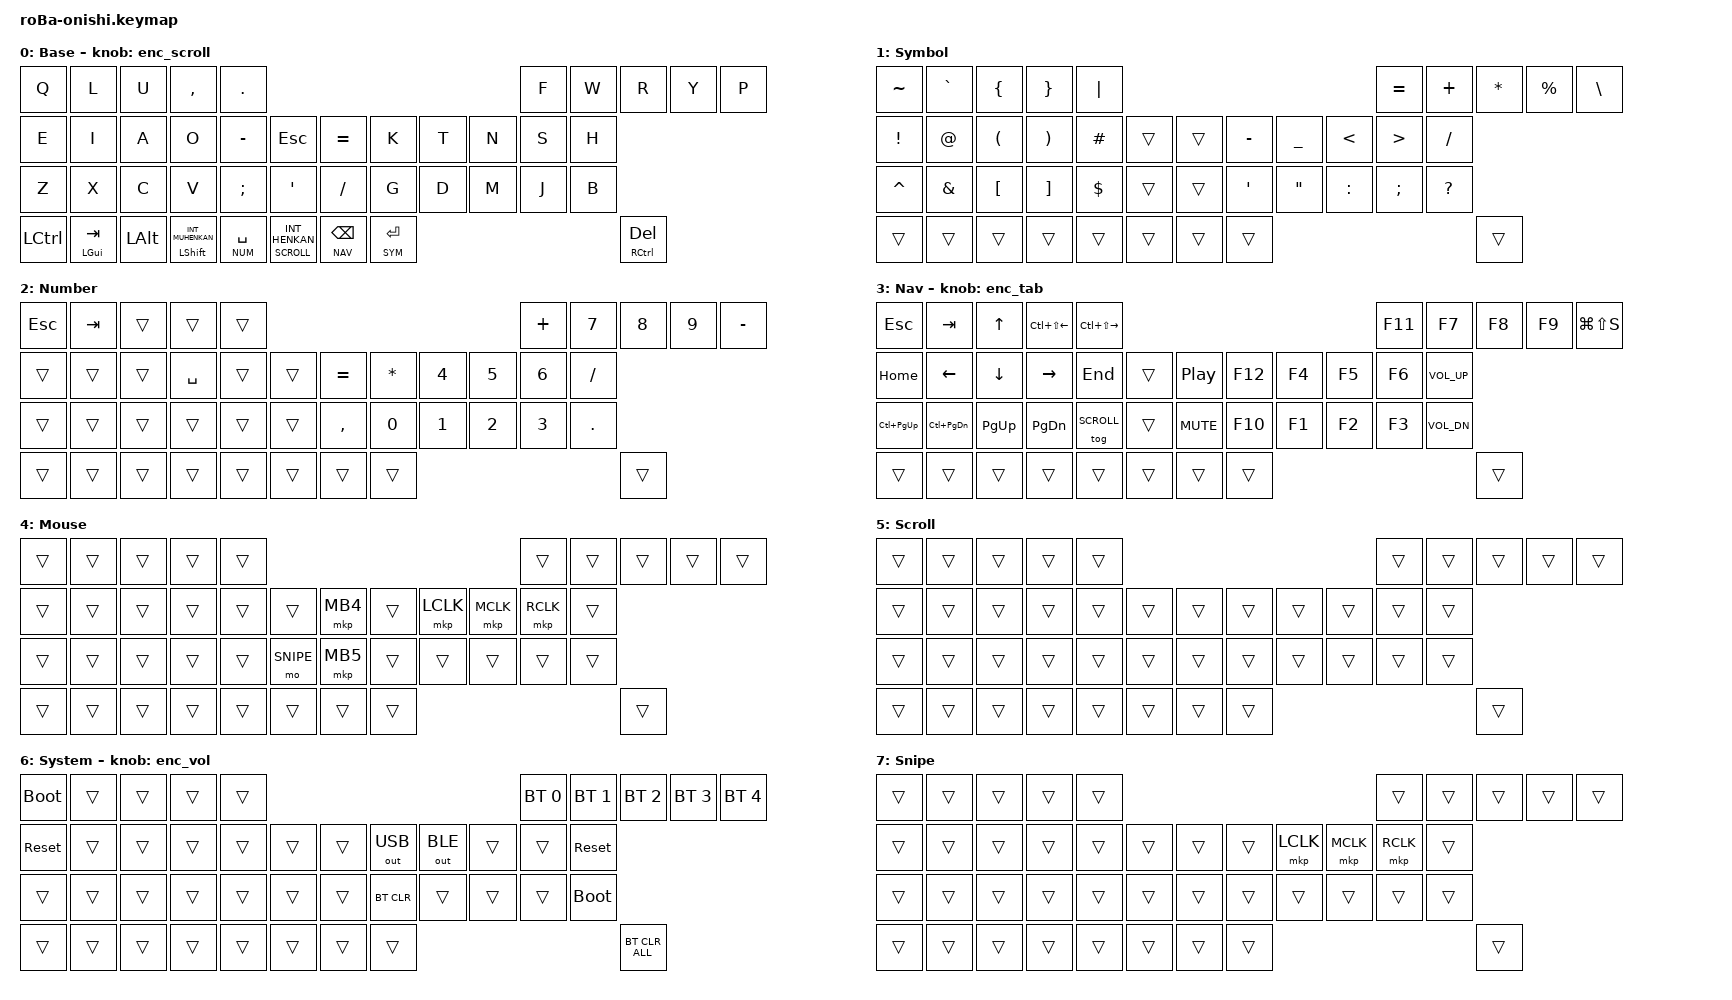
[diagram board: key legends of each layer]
/*
 * roBa keymap — 大西配列ベース / コーディング優先 / Windows + US配列
 * ZMK v0.3
 *
 * キー位置番号（excluded-positions 等で使う）
 *
 *   0  1  2  3  4                    5  6  7  8  9
 *  10 11 12 13 14 15            16 17 18 19 20 21
 *  22 23 24 25 26 27            28 29 30 31 32 33
 *  34 35 36  37 38 39       40 41                42
 *  └左下段┘ └左親指┘       └右親指┘           右下
 *
 *  15/27・16/28 は人差し指で届く内側の列。トラックボールは右親指で操作。
 */

#include <behaviors.dtsi>
#include <dt-bindings/zmk/bt.h>
#include <dt-bindings/zmk/keys.h>
#include <dt-bindings/zmk/outputs.h>
#include <dt-bindings/zmk/pointing.h>
#include <dt-bindings/zmk/input_transform.h>
#include <input/processors.dtsi>

#define BASE   0
#define SYM    1
#define NUM    2
#define NAV    3
#define MOUSE  4
#define SCROLL 5
#define SYS    6
#define SNIPE  7

/* ------------------------------------------------------------------ */
/* 長押し兼用キーの挙動                                                 */
/* ------------------------------------------------------------------ */

/* 英数/Shift・Tab/Win・Del/Ctrl … タップと長押しを両立 */
&mt {
    flavor = "balanced";
    tapping-term-ms = <200>;
    quick-tap-ms = <200>;      /* タップ直後にもう一度押しっぱなし → キーリピート */
};

/* BS/NAV・Enter/SYM */
&lt {
    flavor = "balanced";
    tapping-term-ms = <200>;
    quick-tap-ms = <200>;      /* BS長押しで連続削除できるようにする */
};

/ {
    behaviors {
        /* Space/NUM … 最頻キーなので誤爆対策を追加 */
        lt_spc: lt_spc {
            compatible = "zmk,behavior-hold-tap";
            #binding-cells = <2>;
            bindings = <&mo>, <&kp>;
            flavor = "balanced";
            tapping-term-ms = <200>;
            quick-tap-ms = <200>;
            require-prior-idle-ms = <150>;  /* 文字の直後150ms以内のSpaceは必ず「Space」 */
        };

        /* かな/SCROLL … 左親指で押さえながら右親指でボール → スクロール */
        lt_scr: lt_scr {
            compatible = "zmk,behavior-hold-tap";
            #binding-cells = <2>;
            bindings = <&mo>, <&kp>;
            flavor = "balanced";
            tapping-term-ms = <150>;        /* スクロールの立ち上がりを少し速く */
            quick-tap-ms = <200>;
        };

        /* エンコーダー：回すとマウスホイール（1クリックで1段） */
        enc_scroll: enc_scroll {
            compatible = "zmk,behavior-sensor-rotate";
            #sensor-binding-cells = <0>;
            bindings = <&msc MOVE_Y(80)>, <&msc MOVE_Y(-80)>;
            tap-ms = <30>;   /* &msc は押している間だけ回るので、短すぎると1段も出ない */
        };

        /* エンコーダー（NAV中）：タブ切替 */
        enc_tab: enc_tab {
            compatible = "zmk,behavior-sensor-rotate";
            #sensor-binding-cells = <0>;
            bindings = <&kp LC(PG_UP)>, <&kp LC(PG_DN)>;
        };

        /* エンコーダー（SYS中）：音量 */
        enc_vol: enc_vol {
            compatible = "zmk,behavior-sensor-rotate";
            #sensor-binding-cells = <0>;
            bindings = <&kp C_VOL_UP>, <&kp C_VOL_DN>;
        };
    };

    /* Space(NUM) と Enter(SYM) を同時に押さえると SYS（Bluetooth等） */
    conditional_layers {
        compatible = "zmk,conditional-layers";
        tri_layer {
            if-layers = <SYM NUM>;
            then-layer = <SYS>;
        };
    };
};

/* ------------------------------------------------------------------ */
/* トラックボール                                                       */
/* ------------------------------------------------------------------ */

/* 横スクロールだけ弱める（縦スクロール中に横へ流れるのを防ぐ） */
/ {
    zip_hwheel_damp: zip_hwheel_damp {
        compatible = "zmk,input-processor-scaler";
        #input-processor-cells = <2>;
        type = <INPUT_EV_REL>;
        codes = <INPUT_REL_HWHEEL>;
        track-remainders;
    };
};

/* マウス自動レイヤー：ボールを動かすと MOUSE が乗り、クリックが使える */
&zip_temp_layer {
    /* 打鍵後200msはボールに触れてもMOUSEに入らない（タイプ中の誤クリック防止） */
    require-prior-idle-ms = <200>;
    /* MOUSE中に押してもMOUSEが解除されないキー
     *  15        … Esc（Blender等でキャンセル直後にすぐクリックできる）
     *  16 28     … 戻る/進む（右手内側列の = と / の位置）
     *  18-20     … 左/中/右クリック（T・N・S位置）
     *  27        … 精密（左手内側列の ' 位置）
     *  34-37     … Ctrl Win Alt Shift（Ctrl+クリック、Shift+中ドラッグ等）
     *  39        … かな/スクロール
     *  42        … 右Ctrl
     * これ以外のキーを押すと即MOUSEが解除され、普通に文字が打てる。
     * クリック以外のマウス機能は「単語の先頭に来ない記号」の位置に置き、
     * ボールを触った直後に打った文字が誤って戻る/ロックになる事故を防ぐ。
     * T/N/S だけは、ボールを止めてから 0.6 秒以内に打つとクリックになる */
    excluded-positions = <15 16 18 19 20 27 28 34 35 36 37 39 42>;
};

&trackball_listener {
    /* 通常：動かすと MOUSE を 600ms 有効にする */
    input-processors = <&zip_temp_layer MOUSE 600>;

    /* SCROLL 中：ボール → ホイール */
    scroller {
        layers = <SCROLL>;
        input-processors =
            <&zip_xy_to_scroll_mapper>,
            /* ボールを奥へ転がす＝上スクロール（逆が好みなら次の行を消す） */
            <&zip_scroll_transform INPUT_TRANSFORM_Y_INVERT>,
            /* スクロール量（分母を大きくすると遅くなる） */
            <&zip_scroll_scaler 1 16>,
            /* 横スクロールはさらに半分 */
            <&zip_hwheel_damp 1 2>;
    };

    /* SNIPE 中：カーソルを1/4速に（精密操作） */
    snipe {
        layers = <SNIPE>;
        input-processors = <&zip_xy_scaler 1 4>;
        process-next;   /* MOUSE レイヤーの維持も続ける */
    };
};

/* ------------------------------------------------------------------ */
/* キーマップ                                                           */
/* ------------------------------------------------------------------ */

/ {
    keymap {
        compatible = "zmk,keymap";

        /* L0 大西配列
         *  Q   L   U   ,   .                  F   W   R   Y   P
         *  E   I   A   O   -  Esc          =  K   T   N   S   H
         *  Z   X   C   V   ;   '           /  G   D   M   J   B
         * Ctl Tab Alt 英数 Spc かな    BS Ent              Del
         *     /Win    /Sft /NUM /SCRL  /NAV /SYM          /Ctl
         */
        base_layer {
            display-name = "Base";
            bindings = <
&kp Q      &kp L            &kp U     &kp COMMA                   &kp DOT                                                                                      &kp F     &kp W  &kp R  &kp Y  &kp P
&kp E      &kp I            &kp A     &kp O                       &kp MINUS              &kp ESC                    &kp EQUAL        &kp K          &kp T     &kp N  &kp S  &kp H
&kp Z      &kp X            &kp C     &kp V                       &kp SEMI               &kp SQT                    &kp FSLH         &kp G          &kp D     &kp M  &kp J  &kp B
&kp LCTRL  &mt LGUI TAB     &kp LALT  &mt LSHIFT INT_MUHENKAN     &lt_spc NUM SPACE      &lt_scr SCROLL INT_HENKAN  &lt NAV BSPC     &lt SYM RET                                          &mt RCTRL DEL
            >;
            sensor-bindings = <&enc_scroll>;
        };

        /* L1 記号（Enter長押し）
         *  ~   `   {   }   |                  =   +   *   %   \
         *  !   @   (   )   #   ·           ·  -   _   <   >   /
         *  ^   &   [   ]   $   ·           ·  '   "   :   ;   ?
         */
        sym_layer {
            display-name = "Symbol";
            bindings = <
&kp TILDE  &kp GRAVE  &kp LBRC  &kp RBRC  &kp PIPE                                &kp EQUAL  &kp PLUS   &kp STAR   &kp PRCNT  &kp BSLH
&kp EXCL   &kp AT     &kp LPAR  &kp RPAR  &kp HASH    &trans          &trans      &kp MINUS  &kp UNDER  &kp LT     &kp GT     &kp FSLH
&kp CARET  &kp AMPS   &kp LBKT  &kp RBKT  &kp DLLR    &trans          &trans      &kp SQT    &kp DQT    &kp COLON  &kp SEMI   &kp QMARK
&trans     &trans     &trans    &trans    &trans      &trans          &trans      &trans                                                &trans
            >;
        };

        /* L2 数字（Space長押し）右手テンキー
         * Esc Tab  ·   ·   ·                  +   7   8   9   -
         *  ·   ·   ·  Spc  ·   ·           =  *   4   5   6   /
         *  ·   ·   ·   ·   ·   ·           ,  0   1   2   3   .
         */
        num_layer {
            display-name = "Number";
            bindings = <
&kp ESC  &kp TAB  &trans  &trans     &trans                             &kp PLUS  &kp N7    &kp N8  &kp N9  &kp MINUS
&trans   &trans   &trans  &kp SPACE  &trans  &trans        &kp EQUAL    &kp STAR  &kp N4    &kp N5  &kp N6  &kp FSLH
&trans   &trans   &trans  &trans     &trans  &trans        &kp COMMA    &kp N0    &kp N1    &kp N2  &kp N3  &kp DOT
&trans   &trans   &trans  &trans     &trans  &trans        &trans       &trans                                &trans
            >;
        };

        /* L3 ナビ（BS長押し）
         * 左：矢印・Home/End・PgUp/Dn・タブ切替・単語選択
         * 右：Fキー（L2の数字と同じ位置 = F1〜F10）＋メディア
         * Esc Tab  ↑  選←  選→                F11 F7  F8  F9  ｽｸｼｮ
         * Home ←   ↓   →  End  ·         ⏯  F12 F4  F5  F6  Vol+
         * Tab← Tab→ PgUp PgDn ｽｸﾛｰﾙ ·      🔇  F10 F1  F2  F3  Vol-
         *                     固定
         * ｽｸﾛｰﾙ固定：ボールがずっとホイールになる。もう一度 BS長押し＋同じ位置、
         * または かな を長押しして離すと解除
         */
        nav_layer {
            display-name = "Nav";
            bindings = <
&kp ESC        &kp TAB        &kp UP     &kp LC(LS(LEFT))  &kp LC(LS(RIGHT))                                 &kp F11  &kp F7  &kp F8  &kp F9  &kp LG(LS(S))
&kp HOME       &kp LEFT       &kp DOWN   &kp RIGHT         &kp END            &trans         &kp C_PP        &kp F12  &kp F4  &kp F5  &kp F6  &kp C_VOL_UP
&kp LC(PG_UP)  &kp LC(PG_DN)  &kp PG_UP  &kp PG_DN         &tog SCROLL        &trans         &kp C_MUTE      &kp F10  &kp F1  &kp F2  &kp F3  &kp C_VOL_DN
&trans         &trans         &trans     &trans            &trans             &trans         &trans          &trans                             &trans
            >;
            sensor-bindings = <&enc_tab>;
        };

        /* L4 マウス（ボールを動かすと自動で有効、止めて0.6秒で戻る）
         *  ·   ·   ·   ·   ·                   ·   ·   ·   ·   ·
         *  ·   ·   ·   ·   ·   ·          戻る  ·  左   中   右   ·
         *  ·   ·   ·   ·   ·  精密        進む  ·   ·   ·   ·   ·
         * 精密は左人差し指で押さえたまま、右親指でボール・右手でクリック
         */
        mouse_layer {
            display-name = "Mouse";
            bindings = <
&trans  &trans  &trans  &trans  &trans                            &trans  &trans     &trans     &trans     &trans
&trans  &trans  &trans  &trans  &trans  &trans          &mkp MB4  &trans  &mkp LCLK  &mkp MCLK  &mkp RCLK  &trans
&trans  &trans  &trans  &trans  &trans  &mo SNIPE       &mkp MB5  &trans  &trans     &trans     &trans     &trans
&trans  &trans  &trans  &trans  &trans  &trans          &trans    &trans                                   &trans
            >;
        };

        /* L5 スクロール（かな長押し中／NAVのスクロール固定中）
         * ボール＝ホイール。キーは全部素通り：かな長押し中ならMOUSEのクリックが、
         * スクロール固定中なら普通の文字がそのまま使える */
        scroll_layer {
            display-name = "Scroll";
            bindings = <
&trans  &trans  &trans  &trans  &trans                            &trans  &trans     &trans     &trans     &trans
&trans  &trans  &trans  &trans  &trans  &trans          &trans    &trans  &trans     &trans     &trans     &trans
&trans  &trans  &trans  &trans  &trans  &trans          &trans    &trans  &trans     &trans     &trans     &trans
&trans  &trans  &trans  &trans  &trans  &trans          &trans    &trans                                   &trans
            >;
        };

        /* L6 システム（Space + Enter 同時長押し）
         * boot  ·   ·   ·   ·              BT1 BT2 BT3 BT4 BT5
         * reset ·   ·   ·   ·   ·        · USB BLE  ·   ·  reset
         *  ·    ·   ·   ·   ·   ·        · BT消  ·  ·   ·  boot
         *                                                  BT全消
         */
        sys_layer {
            display-name = "System";
            bindings = <
&bootloader  &trans  &trans  &trans  &trans                         &bt BT_SEL 0  &bt BT_SEL 1  &bt BT_SEL 2  &bt BT_SEL 3  &bt BT_SEL 4
&sys_reset   &trans  &trans  &trans  &trans  &trans        &trans   &out OUT_USB  &out OUT_BLE  &trans        &trans        &sys_reset
&trans       &trans  &trans  &trans  &trans  &trans        &trans   &bt BT_CLR    &trans        &trans        &trans        &bootloader
&trans       &trans  &trans  &trans  &trans  &trans        &trans   &trans                                                &bt BT_CLR_ALL
            >;
            sensor-bindings = <&enc_vol>;
        };

        /* L7 精密（マウス中に左手 ' 位置を長押し）カーソル1/4速。クリックはそのまま */
        snipe_layer {
            display-name = "Snipe";
            bindings = <
&trans  &trans  &trans  &trans  &trans                         &trans       &trans     &trans     &trans     &trans
&trans  &trans  &trans  &trans  &trans  &trans        &trans   &trans       &mkp LCLK  &mkp MCLK  &mkp RCLK  &trans
&trans  &trans  &trans  &trans  &trans  &trans        &trans   &trans       &trans     &trans     &trans     &trans
&trans  &trans  &trans  &trans  &trans  &trans        &trans   &trans                                        &trans
            >;
        };
    };
};
